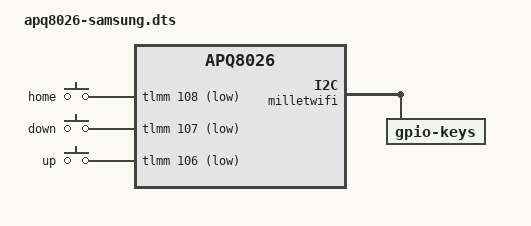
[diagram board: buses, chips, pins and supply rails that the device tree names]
// SPDX-License-Identifier: BSD-3-Clause

#include <skeleton64.dtsi>
#include <lk2nd.dtsi>

/ {
	qcom,msm-id = <0xC708FF01 3 0x20000>,
		      <0xC708FF01 9 0x20000>;
};

&lk2nd {
	/* rev 3 */

	matissewifi {
		model = "Samsung Galaxy Tab 4 10.1 WiFi (SM-T530)";
		compatible = "samsung,matisse-wifi", "samsung,matisse";
		lk2nd,match-bootloader = "T530*";

		lk2nd,dtb-files = "apq8026-samsung-matisse-wifi";

		gpio-keys {
			compatible = "gpio-keys";
			home {
				lk2nd,code = <KEY_HOME>;
				gpios = <&tlmm 108 (GPIO_ACTIVE_LOW | GPIO_PULL_UP)>;
			};
			down {
				lk2nd,code = <KEY_VOLUMEDOWN>;
				gpios = <&tlmm 107 (GPIO_ACTIVE_LOW | GPIO_PULL_UP)>;
			};
			up {
				lk2nd,code = <KEY_VOLUMEUP>;
				gpios = <&tlmm 106 (GPIO_ACTIVE_LOW | GPIO_PULL_UP)>;
			};
		};
	};

	/* rev 9 */

	milletwifi {
		model = "Samsung Galaxy Tab 4 8.0 WiFi (SM-T330)";
		compatible = "samsung,milletwifi", "samsung,millet";
		lk2nd,match-bootloader = "T330*";

		//FIXME: lk2nd,dtb-files = "apq8026-samsung-millet-wifi";

		gpio-keys {
			compatible = "gpio-keys";
			home {
				lk2nd,code = <KEY_HOME>;
				gpios = <&tlmm 108 (GPIO_ACTIVE_LOW | GPIO_PULL_UP)>;
			};
			down {
				lk2nd,code = <KEY_VOLUMEDOWN>;
				gpios = <&tlmm 107 (GPIO_ACTIVE_LOW | GPIO_PULL_UP)>;
			};
			up {
				lk2nd,code = <KEY_VOLUMEUP>;
				gpios = <&tlmm 106 (GPIO_ACTIVE_LOW | GPIO_PULL_UP)>;
			};
		};
	};
};
